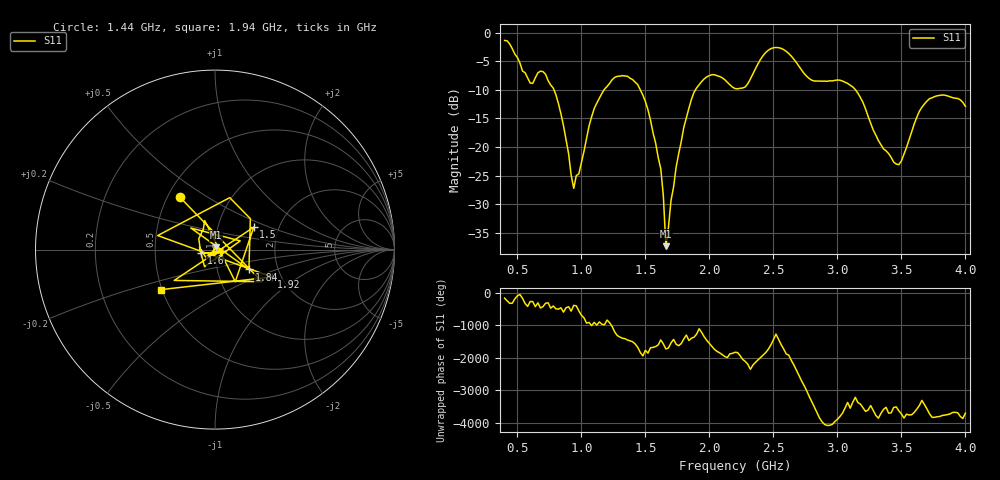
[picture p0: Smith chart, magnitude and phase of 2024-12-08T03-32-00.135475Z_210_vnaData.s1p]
!Created with skrf (http://scikit-rf.org).
# Hz S RI R 50.0
!freq ReS11 ImS11
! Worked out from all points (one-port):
!   181 points, 400 MHz to 4 GHz, reference 50 ohm
!   lowest |S11| = -37.3 dB at 1.66 GHz (marker M1), VSWR 1.03, Z = 50.4 + j1.3 ohm
!   |S11| at or under -10 dB: 785.6 MHz to 1.177 GHz (391.5 MHz wide, 39.9 % of centre); 1.46 GHz to 1.891 GHz (430.9 MHz wide, 25.7 % of centre); 3.142 GHz to end of sweep
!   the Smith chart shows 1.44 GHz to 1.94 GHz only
!   S11 on the Smith chart (normalised r, x): 1.44 GHz: 0.58, +0.39; 1.5 GHz: 1.49, +0.40; 1.6 GHz: 0.85, -0.04; 1.84 GHz: 1.42, -0.33; 1.92 GHz: 1.79, -0.62; 1.94 GHz: 0.49, -0.26
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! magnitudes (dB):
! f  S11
! 400 MHz  -1.4
! 600 MHz  -8.8
! 720 MHz  -7.3
! 860 MHz  -16.3
! 940 MHz  -27.2
! 1.1 GHz  -13.3
! 1.3 GHz  -7.6
! 1.44 GHz  -9.1
! 1.5 GHz  -12.0
! 1.6 GHz  -21.8
! 1.64 GHz  -28.4
! 1.66 GHz  -37.3
! 1.76 GHz  -21.2
! 1.84 GHz  -13.2
! 1.92 GHz  -9.1
! 1.94 GHz  -8.5
! 2.04 GHz  -7.4
! 2.2 GHz  -9.8
! 2.28 GHz  -9.5
! 2.48 GHz  -2.8
! 2.66 GHz  -4.7
! 2.8 GHz  -8.3
! 3.1 GHz  -9.2
! 3.44 GHz  -22.6
! 3.5 GHz  -22.4
! 3.56 GHz  -18.7
! 3.72 GHz  -11.5
! 4 GHz  -12.9
